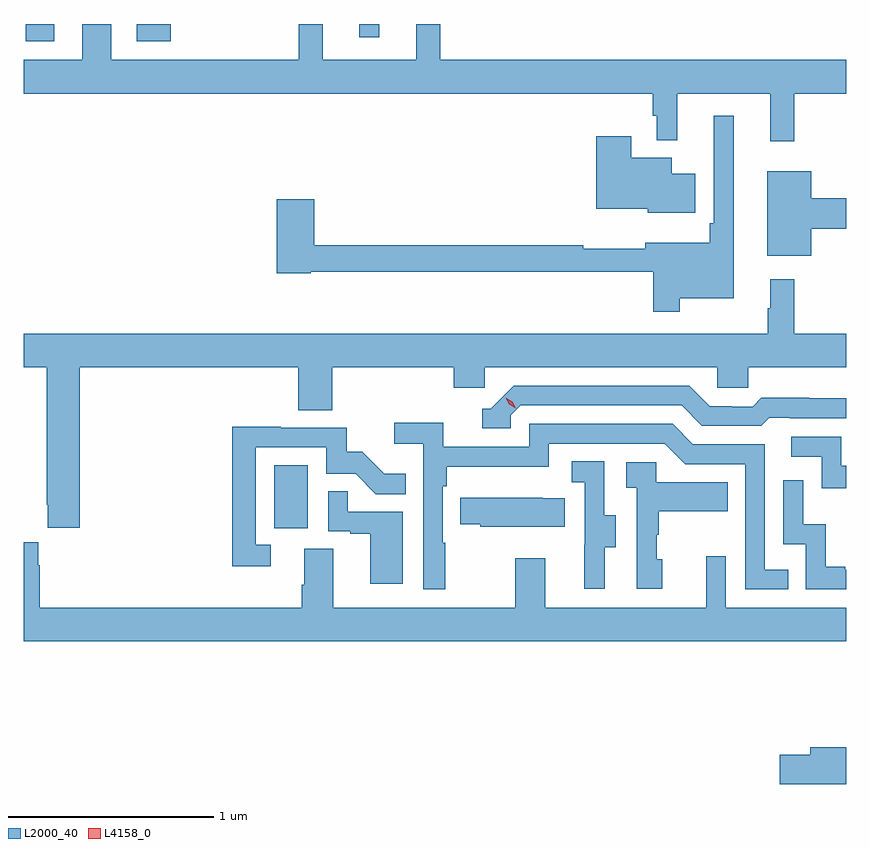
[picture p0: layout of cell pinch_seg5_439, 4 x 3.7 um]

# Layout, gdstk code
import gdstk
lib = gdstk.Library(unit=1e-6, precision=1e-09)
def R(c, l, rs):  # rectangles x0, y0, x1, y1
    for r in rs: c.add(gdstk.rectangle(r[:2], r[2:], *l))
def P(c, l, *ps):  # polygons
    for p in ps: c.add(gdstk.Polygon(p, *l))
L2000_40 = (2000, 40)
L4158_0 = (4158, 0)

pinch_seg5_439 = lib.new_cell('pinch_seg5_439')
R(pinch_seg5_439, L2000_40, [(900.584,865.302,900.748,865.609), (899.375,867.669,899.515,867.754), (899.915,867.669,900.08,867.754), (900.998,867.69,901.095,867.754)])
P(pinch_seg5_439, L2000_40, [(903.113,867.416),(903.366,867.416),(903.366,867.58),(901.391,867.58),(901.391,867.754),(901.274,867.754),(901.274,867.58),(900.821,867.58),(900.821,867.754),(900.703,867.754),(900.703,867.58),(899.791,867.58),(899.791,867.754),(899.651,867.754),(899.651,867.58),(899.366,867.58),(899.366,867.416),(902.425,867.416),(902.425,867.309),(902.445,867.309),(902.445,867.188),(902.543,867.188),(902.543,867.416),(902.996,867.416),(902.996,867.183),(903.113,867.183)],
  [(902.557,866.42),(902.818,866.42),(902.818,867.307),(902.721,867.307),(902.721,866.785),(902.701,866.785),(902.701,866.689),(902.388,866.689),(902.388,866.66),(902.088,866.66),(902.088,866.678),(900.779,866.678),(900.779,866.902),(900.596,866.902),(900.596,866.542),(900.762,866.542),(900.762,866.55),(902.428,866.55),(902.428,866.355),(902.557,866.355)],
  [(902.632,867.025),(902.518,867.025),(902.518,867.103),(902.32,867.103),(902.32,867.208),(902.15,867.208),(902.15,866.855),(902.4,866.855),(902.4,866.837),(902.632,866.837)],
  [(903.196,866.759),(903.366,866.759),(903.366,866.906),(903.196,866.906),(903.196,867.037),(902.981,867.037),(902.981,866.627),(903.196,866.627)],
  [(899.639,866.084),(900.701,866.084),(900.701,865.876),(900.866,865.876),(900.866,866.084),(901.457,866.084),(901.457,865.986),(901.608,865.986),(901.608,866.084),(902.739,866.084),(902.739,865.986),(902.889,865.986),(902.889,866.084),(903.366,866.084),(903.366,866.248),(903.113,866.248),(903.113,866.512),(902.996,866.512),(902.996,866.372),(902.985,866.372),(902.985,866.248),(899.366,866.248),(899.366,866.084),(899.479,866.084),(899.479,865.417),(899.483,865.417),(899.483,865.305),(899.639,865.305)],
  [(901.734,865.851),(901.782,865.899),(902.565,865.899),(902.664,865.8),(902.953,865.8),(902.992,865.839),(903.091,865.839),(903.091,865.836),(903.366,865.836),(903.366,865.933),(903.186,865.933),(903.186,865.936),(902.953,865.936),(902.911,865.893),(902.808,865.893),(902.808,865.896),(902.701,865.896),(902.602,865.995),(901.749,865.995),(901.638,865.884),(901.595,865.884),(901.595,865.788),(901.734,865.788)],
  [(901.417,865.232),(901.404,865.232),(901.404,865.505),(901.424,865.505),(901.424,865.601),(901.92,865.601),(901.92,865.713),(902.484,865.713),(902.583,865.614),(902.874,865.614),(902.874,865.005),(903.083,865.005),(903.083,865.101),(902.97,865.101),(902.97,865.71),(902.62,865.71),(902.521,865.809),(901.824,865.809),(901.824,865.698),(901.406,865.698),(901.406,865.814),(901.167,865.814),(901.167,865.712),(901.308,865.712),(901.308,865.005),(901.417,865.005)],
  [(900.568,865.221),(900.495,865.221),(900.495,865.695),(900.837,865.695),(900.837,865.566),(900.981,865.566),(901.079,865.468),(901.223,865.468),(901.223,865.567),(901.119,865.567),(901.012,865.674),(900.936,865.674),(900.936,865.791),(900.617,865.791),(900.617,865.796),(900.379,865.796),(900.379,865.116),(900.568,865.116)],
  [(903.366,865.605),(903.342,865.605),(903.342,865.746),(903.099,865.746),(903.099,865.65),(903.246,865.65),(903.246,865.497),(903.366,865.497)],
  [(902.191,865.21),(902.245,865.21),(902.245,865.365),(902.19,865.365),(902.19,865.628),(902.031,865.628),(902.031,865.525),(902.094,865.525),(902.094,865.221),(902.093,865.221),(902.093,865.008),(902.191,865.008)],
  [(902.47,865.152),(902.445,865.152),(902.445,865.271),(902.455,865.271),(902.455,865.385),(902.789,865.385),(902.789,865.525),(902.442,865.525),(902.442,865.623),(902.295,865.623),(902.295,865.499),(902.346,865.499),(902.346,865.008),(902.47,865.008)],
  [(903.366,865.101),(903.361,865.101),(903.361,865.114),(903.266,865.114),(903.266,865.322),(903.156,865.322),(903.156,865.534),(903.06,865.534),(903.06,865.224),(903.168,865.224),(903.168,865.005),(903.366,865.005)],
  [(901.21,865.383),(900.941,865.383),(900.941,865.481),(900.846,865.481),(900.846,865.287),(900.953,865.287),(900.953,865.275),(901.052,865.275),(901.052,865.032),(901.21,865.032)],
  [(901.997,865.447),(901.889,865.447),(901.889,865.45),(901.489,865.45),(901.489,865.321),(901.587,865.321),(901.587,865.31),(901.997,865.31)],
  [(903.366,864.916),(902.781,864.916),(902.781,865.165),(902.684,865.165),(902.684,864.916),(901.903,864.916),(901.903,865.156),(901.756,865.156),(901.756,864.916),(900.871,864.916),(900.871,865.202),(900.731,865.202),(900.731,865.028),(900.719,865.028),(900.719,864.916),(899.444,864.916),(899.444,865.121),(899.437,865.121),(899.437,865.234),(899.366,865.234),(899.366,864.752),(903.366,864.752)],
  [(903.366,864.236),(903.191,864.236),(903.191,864.2),(903.042,864.2),(903.042,864.058),(903.366,864.058)])
P(pinch_seg5_439, L4158_0, [(901.758,865.885),(901.727,865.904),(901.71,865.937),(901.71,865.937),(901.711,865.937),(901.742,865.918),(901.758,865.885),(901.758,865.885)])

lib.write_gds('pinch_seg5_439.gds')
